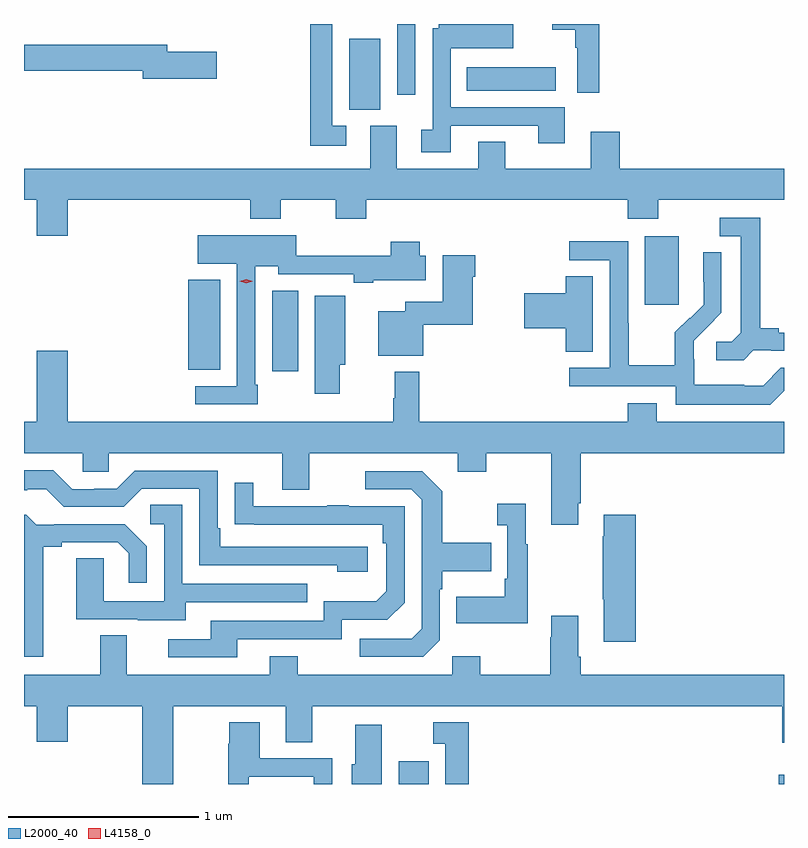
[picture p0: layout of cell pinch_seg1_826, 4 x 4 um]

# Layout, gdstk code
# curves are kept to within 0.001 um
import gdstk
lib = gdstk.Library(unit=1e-6, precision=1e-09)
def R(c, l, rs):  # rectangles x0, y0, x1, y1
    for r in rs: c.add(gdstk.rectangle(r[:2], r[2:], *l))
def P(c, l, *ps):  # polygons
    for p in ps: c.add(gdstk.Polygon(p, *l))
L2000_40 = (2000, 40)
L4158_0 = (4158, 0)

pinch_seg1_826 = lib.new_cell('pinch_seg1_826')
R(pinch_seg1_826, L2000_40, [(478.601,571.302,478.759,571.423), (480.602,571.302,480.629,571.351), (477.935,573.474,478.072,573.899), (477.494,573.481,477.661,573.955), (479.897,573.825,480.076,574.186), (478.34,574.852,478.504,575.224), (478.593,574.929,478.689,575.302), (478.96,574.952,479.428,575.074)])
P(pinch_seg1_826, L2000_40, [(479.657,575.302),(479.408,575.302),(479.408,575.273),(479.529,575.273),(479.529,575.177),(479.541,575.177),(479.541,574.941),(479.657,574.941)],
  [(478.324,574.767),(478.251,574.767),(478.251,575.302),(478.135,575.302),(478.135,574.662),(478.324,574.662)],
  [(478.876,574.767),(479.336,574.767),(479.336,574.674),(479.476,574.674),(479.476,574.863),(478.875,574.863),(478.875,575.174),(479.203,575.174),(479.203,575.302),(478.812,575.302),(478.812,575.28),(478.779,575.28),(478.779,574.746),(478.719,574.746),(478.719,574.626),(478.876,574.626)],
  [(477.643,575.156),(477.382,575.156),(477.382,575.192),(476.629,575.192),(476.629,575.056),(477.254,575.056),(477.254,575.014),(477.643,575.014)],
  [(476.86,574.376),(477.821,574.376),(477.821,574.277),(477.981,574.277),(477.981,574.376),(478.27,574.376),(478.27,574.277),(478.43,574.277),(478.43,574.376),(479.807,574.376),(479.807,574.277),(479.967,574.277),(479.967,574.376),(480.629,574.376),(480.629,574.54),(479.765,574.54),(479.765,574.735),(479.612,574.735),(479.612,574.54),(479.161,574.54),(479.161,574.682),(479.021,574.682),(479.021,574.54),(478.591,574.54),(478.591,574.767),(478.451,574.767),(478.451,574.54),(476.629,574.54),(476.629,574.376),(476.696,574.376),(476.696,574.188),(476.86,574.188)],
  [(480.468,573.585),(480.562,573.585),(480.562,573.582),(480.629,573.582),(480.629,573.678),(480.601,573.678),(480.601,573.701),(480.505,573.701),(480.505,574.281),(480.291,574.281),(480.291,574.185),(480.401,574.185),(480.401,573.677),(480.354,573.63),(480.273,573.63),(480.273,573.533),(480.416,573.533)],
  [(477.859,573.403),(477.846,573.403),(477.846,574.028),(477.966,574.028),(477.966,573.984),(478.364,573.984),(478.364,573.941),(478.468,573.941),(478.468,573.953),(478.744,573.953),(478.744,574.083),(478.711,574.083),(478.711,574.156),(478.559,574.156),(478.559,574.082),(478.062,574.082),(478.062,574.189),(477.543,574.189),(477.543,574.04),(477.75,574.04),(477.75,573.396),(477.531,573.396),(477.531,573.3),(477.859,573.3)],
  [(480.629,573.371),(480.629,573.492),(480.612,573.492),(480.519,573.399),(480.419,573.399),(480.419,573.403),(480.156,573.403),(480.156,573.537),(480.154,573.537),(480.154,573.634),(480.3,573.782),(480.3,574.1),(480.204,574.1),(480.204,573.946),(480.206,573.946),(480.206,573.824),(480.135,573.753),(480.132,573.756),(480.055,573.679),(480.055,573.505),(479.811,573.505),(479.811,573.728),(479.808,573.728),(479.808,574.158),(479.499,574.158),(479.499,574.059),(479.712,574.059),(479.712,573.492),(479.499,573.492),(479.499,573.396),(480.06,573.396),(480.06,573.299),(480.557,573.299)],
  [(478.731,573.719),(478.99,573.719),(478.99,573.971),(479.003,573.971),(479.003,574.084),(478.832,574.084),(478.832,573.841),(478.635,573.841),(478.635,573.79),(478.493,573.79),(478.493,573.557),(478.731,573.557)],
  [(479.623,573.974),(479.48,573.974),(479.48,573.884),(479.262,573.884),(479.262,573.701),(479.48,573.701),(479.48,573.577),(479.623,573.577)],
  [(478.29,573.509),(478.321,573.509),(478.321,573.871),(478.16,573.871),(478.16,573.357),(478.29,573.357)],
  [(479.545,572.779),(479.558,572.779),(479.558,573.044),(480.629,573.044),(480.629,573.208),(479.959,573.208),(479.959,573.307),(479.807,573.307),(479.807,573.208),(478.709,573.208),(478.709,573.472),(478.581,573.472),(478.581,573.332),(478.573,573.332),(478.573,573.208),(476.86,573.208),(476.86,573.583),(476.696,573.583),(476.696,573.208),(476.629,573.208),(476.629,573.044),(476.937,573.044),(476.937,572.946),(477.075,572.946),(477.075,573.044),(477.989,573.044),(477.989,572.85),(478.129,572.85),(478.129,573.044),(478.913,573.044),(478.913,572.945),(479.061,572.945),(479.061,573.044),(479.405,573.044),(479.405,572.667),(479.545,572.667)],
  [(478.438,572.55),(477.661,572.55),(477.661,572.647),(477.648,572.647),(477.648,572.952),(477.213,572.952),(477.117,572.856),(476.999,572.856),(476.999,572.853),(476.883,572.853),(476.783,572.953),(476.629,572.953),(476.629,572.849),(476.645,572.849),(476.645,572.853),(476.745,572.853),(476.838,572.76),(477.153,572.76),(477.249,572.856),(477.552,572.856),(477.552,572.454),(478.277,572.454),(478.277,572.42),(478.438,572.42)],
  [(478.818,572.058),(478.818,572.327),(478.831,572.327),(478.831,572.423),(479.087,572.423),(479.087,572.571),(478.831,572.571),(478.831,572.843),(478.725,572.949),(478.425,572.949),(478.425,572.853),(478.668,572.853),(478.722,572.799),(478.722,572.118),(478.671,572.067),(478.395,572.067),(478.395,571.971),(478.731,571.971)],
  [(477.751,572.064),(478.302,572.064),(478.302,572.166),(478.542,572.166),(478.632,572.256),(478.632,572.763),(478.337,572.763),(478.337,572.768),(478.225,572.768),(478.225,572.763),(477.835,572.763),(477.835,572.887),(477.739,572.887),(477.739,572.668),(478.516,572.667),(478.516,572.57),(478.536,572.57),(478.536,572.316),(478.483,572.263),(478.206,572.263),(478.206,572.16),(477.611,572.16),(477.611,572.064),(477.387,572.064),(477.387,571.968),(477.751,571.968)],
  [(479.281,572.563),(479.269,572.563),(479.269,572.776),(479.121,572.776),(479.121,572.663),(479.172,572.663),(479.172,572.383),(479.16,572.383),(479.16,572.287),(478.903,572.287),(478.903,572.147),(479.281,572.147)],
  [(477.481,572.259),(478.121,572.259),(478.121,572.355),(477.462,572.355),(477.462,572.771),(477.294,572.771),(477.294,572.67),(477.366,572.67),(477.366,572.265),(477.048,572.265),(477.048,572.489),(476.903,572.489),(476.903,572.169),(477.227,572.169),(477.227,572.165),(477.481,572.165)],
  [(476.731,572.552),(476.827,572.552),(476.827,572.574),(477.122,572.574),(477.179,572.517),(477.179,572.361),(477.276,572.361),(477.276,572.554),(477.16,572.67),(476.788,572.67),(476.788,572.667),(476.694,572.667),(476.642,572.719),(476.629,572.719),(476.629,571.971),(476.731,571.971)],
  [(479.849,572.719),(479.681,572.719),(479.681,572.606),(479.674,572.606),(479.674,572.275),(479.681,572.275),(479.681,572.052),(479.849,572.052)],
  [(477.415,571.712),(478.007,571.712),(478.007,571.522),(478.147,571.522),(478.147,571.712),(480.62,571.712),(480.62,571.518),(480.629,571.518),(480.629,571.876),(479.558,571.876),(479.558,571.972),(479.545,571.972),(479.545,572.188),(479.405,572.188),(479.405,572.075),(479.398,572.075),(479.398,571.876),(479.031,571.876),(479.031,571.975),(478.884,571.975),(478.884,571.876),(478.071,571.876),(478.071,571.975),(477.923,571.975),(477.923,571.876),(477.169,571.876),(477.169,572.084),(477.029,572.084),(477.029,571.876),(476.629,571.876),(476.629,571.712),(476.696,571.712),(476.696,571.524),(476.86,571.524),(476.86,571.712),(477.251,571.712),(477.251,571.302),(477.415,571.302)],
  [(477.813,571.341),(478.155,571.341),(478.155,571.302),(478.251,571.302),(478.251,571.437),(477.871,571.437),(477.871,571.627),(477.709,571.627),(477.709,571.514),(477.705,571.514),(477.705,571.302),(477.813,571.302)],
  [(478.969,571.627),(478.782,571.627),(478.782,571.514),(478.847,571.514),(478.847,571.302),(478.969,571.302)],
  [(478.513,571.615),(478.373,571.615),(478.373,571.407),(478.355,571.407),(478.355,571.302),(478.513,571.302)])
P(pinch_seg1_826, L4158_0, [(477.799,573.938),(477.764,573.949),(477.764,573.949),(477.764,573.949),(477.799,573.958),(477.833,573.948),(477.834,573.948),(477.833,573.948)])

lib.write_gds('pinch_seg1_826.gds')
